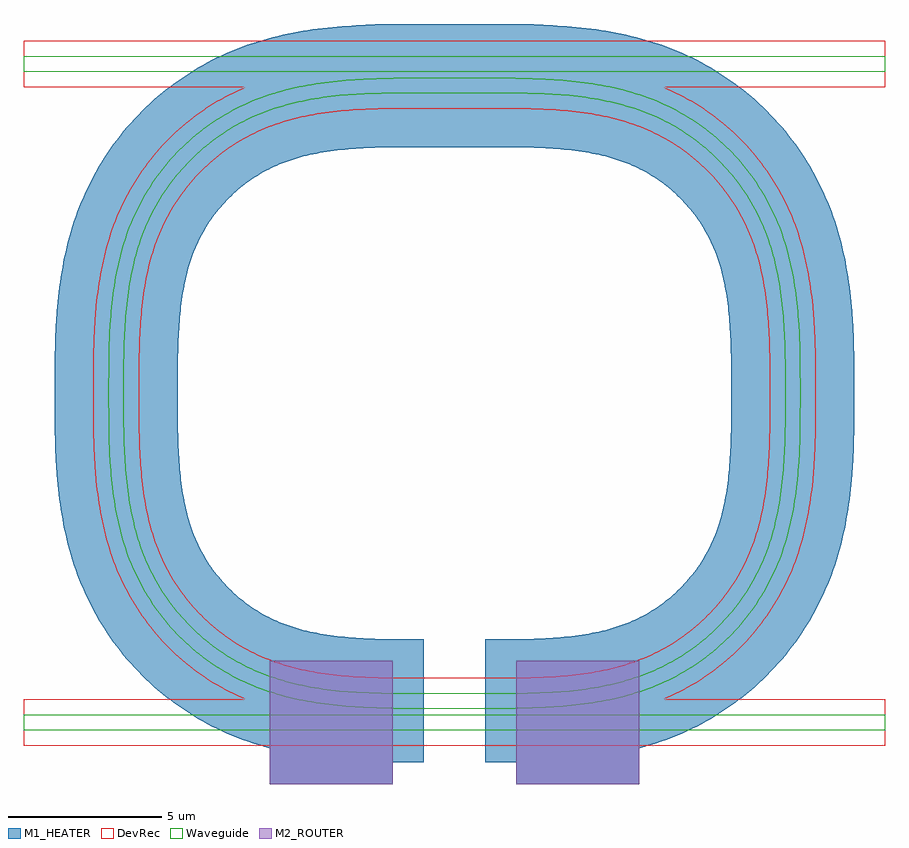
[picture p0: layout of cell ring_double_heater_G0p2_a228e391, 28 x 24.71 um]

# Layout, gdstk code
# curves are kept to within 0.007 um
import gdstk
lib = gdstk.Library(unit=1e-6, precision=1e-09)
def R(c, l, rs):  # rectangles x0, y0, x1, y1
    for r in rs: c.add(gdstk.rectangle(r[:2], r[2:], *l))
def P(c, l, *ps):  # polygons
    for p in ps: c.add(gdstk.Polygon(p, *l))
Waveguide = (1, 0)
M1_HEATER = (11, 0)
M2_ROUTER = (12, 0)
DevRec = (68, 0)

ring_double_heater_g0p2_ = lib.new_cell('ring_double_heater_G0p2_a228e391')
R(ring_double_heater_g0p2_, Waveguide, [(-15,-0.25,13,0.25), (-15,21.16,13,21.66)])
P(ring_double_heater_g0p2_, Waveguide, [(-2.416,0.45),(-3.392,0.461),(-4.233,0.497),(-4.935,0.556),(-5.496,0.63),(-6.055,0.731),(-6.609,0.864),(-7.155,1.034),(-7.688,1.243),(-8.205,1.494),(-8.7,1.784),(-9.171,2.112),(-9.615,2.476),(-10.029,2.874),(-10.41,3.303),(-10.756,3.761),(-11.066,4.245),(-11.337,4.751),(-11.567,5.277),(-11.756,5.817),(-11.907,6.368),(-12.048,7.064),(-12.128,7.625),(-12.194,8.327),(-12.225,8.888),(-12.248,9.866),(-12.248,11.544),(-12.225,12.522),(-12.171,13.364),(-12.128,13.785),(-12.07,14.206),(-11.939,14.904),(-11.756,15.593),(-11.567,16.133),(-11.457,16.398),(-11.273,16.788),(-10.992,17.289),(-10.756,17.649),(-10.588,17.881),(-10.318,18.217),(-10.127,18.431),(-9.826,18.739),(-9.615,18.934),(-9.171,19.298),(-8.939,19.466),(-8.579,19.702),(-8.331,19.847),(-7.949,20.047),(-7.423,20.277),(-6.902,20.46),(-2.415,20.46),(-3.38,20.449),(-4.065,20.422),(-4.746,20.371),(-5.285,20.306),(-5.952,20.19),(-6.477,20.063),(-6.99,19.904),(-7.488,19.709),(-7.969,19.475),(-8.431,19.205),(-8.869,18.899),(-9.283,18.56),(-9.668,18.189),(-10.024,17.789),(-10.346,17.363),(-10.635,16.913),(-10.887,16.441),(-11.051,16.075),(-11.237,15.573),(-11.388,15.056),(-11.506,14.53),(-11.596,13.995),(-11.661,13.456),(-11.719,12.638),(-11.748,11.54),(-11.748,9.87),(-11.731,9.045),(-11.685,8.226),(-11.614,7.549),(-11.506,6.88),(-11.388,6.354),(-11.317,6.094),(-11.194,5.71),(-11.051,5.335),(-10.887,4.969),(-10.635,4.497),(-10.422,4.157),(-10.189,3.831),(-9.938,3.518),(-9.668,3.221),(-9.382,2.94),(-9.079,2.676),(-8.762,2.431),(-8.431,2.205),(-8.087,1.999),(-7.731,1.813),(-7.365,1.649),(-6.99,1.506),(-6.606,1.383),(-6.216,1.28),(-5.82,1.194),(-5.42,1.124),(-4.881,1.053),(-4.474,1.015),(-3.928,0.981),(-2.83,0.952),(0.692,0.951),(1.928,0.981),(2.474,1.015),(3.151,1.086),(3.687,1.169),(4.216,1.28),(4.606,1.383),(5.116,1.551),(5.488,1.701),(5.851,1.873),(6.203,2.065),(6.653,2.354),(7.079,2.676),(7.382,2.94),(7.76,3.318),(8.024,3.621),(8.269,3.938),(8.566,4.383),(8.827,4.849),(8.999,5.212),(9.149,5.584),(9.317,6.094),(9.48,6.748),(9.576,7.28),(9.661,7.954),(9.712,8.635),(9.742,9.457),(9.75,11.125),(9.739,12.09),(9.704,12.912),(9.647,13.591),(9.576,14.13),(9.48,14.662),(9.353,15.187),(9.194,15.7),(9.051,16.075),(8.887,16.441),(8.635,16.913),(8.422,17.253),(8.269,17.472),(8.024,17.789),(7.85,17.993),(7.575,18.285),(7.283,18.56),(7.079,18.734),(6.762,18.979),(6.543,19.132),(6.203,19.345),(5.851,19.537),(5.488,19.709),(5.116,19.859),(4.863,19.947),(4.477,20.063),(4.084,20.161),(3.42,20.286),(2.881,20.357),(2.202,20.414),(1.38,20.449),(0.415,20.46),(-6.902,20.46),(-6.332,20.617),(-5.636,20.758),(-4.935,20.854),(-4.233,20.913),(-3.532,20.945),(-2.695,20.959),(1.253,20.952),(1.953,20.929),(2.514,20.893),(3.075,20.838),(3.636,20.758),(4.194,20.649),(4.609,20.546),(5.019,20.422),(5.423,20.277),(5.819,20.108),(6.205,19.916),(6.579,19.702),(6.939,19.466),(7.285,19.21),(7.615,18.934),(7.928,18.638),(8.224,18.325),(8.5,17.995),(8.756,17.649),(8.992,17.289),(9.206,16.915),(9.398,16.529),(9.567,16.133),(9.712,15.729),(9.836,15.319),(9.939,14.904),(10.048,14.346),(10.128,13.785),(10.194,13.083),(10.235,12.242),(10.248,11.544),(10.249,10.005),(10.239,9.308),(10.219,8.747),(10.183,8.186),(10.128,7.625),(10.048,7.064),(9.939,6.506),(9.836,6.091),(9.712,5.681),(9.567,5.277),(9.457,5.012),(9.273,4.622),(9.066,4.245),(8.916,4),(8.673,3.644),(8.41,3.303),(8.224,3.085),(7.928,2.772),(7.615,2.476),(7.397,2.29),(7.056,2.027),(6.7,1.784),(6.455,1.634),(6.078,1.427),(5.688,1.243),(5.423,1.133),(4.883,0.944),(4.194,0.761),(3.496,0.63),(3.075,0.572),(2.654,0.529),(1.953,0.481),(1.253,0.458)])
P(ring_double_heater_g0p2_, M1_HEATER, [(-7,-2),(-7,-0.842),(-7.401,-0.727),(-7.732,-0.618),(-8.39,-0.36),(-9.03,-0.05),(-9.644,0.31),(-10.085,0.611),(-10.643,1.051),(-11.166,1.534),(-11.649,2.057),(-11.983,2.473),(-12.293,2.907),(-12.576,3.36),(-12.832,3.828),(-13.06,4.31),(-13.259,4.803),(-13.427,5.299),(-13.567,5.794),(-13.715,6.45),(-13.823,7.097),(-13.9,7.734),(-13.967,8.663),(-13.999,9.994),(-13.996,11.705),(-13.967,12.747),(-13.9,13.676),(-13.8,14.474),(-13.682,15.124),(-13.523,15.781),(-13.374,16.276),(-13.13,16.936),(-12.911,17.423),(-12.664,17.896),(-12.39,18.354),(-12.089,18.795),(-11.763,19.217),(-11.532,19.487),(-11.166,19.876),(-10.777,20.242),(-10.368,20.584),(-9.94,20.902),(-9.493,21.194),(-9.03,21.46),(-8.713,21.621),(-8.226,21.84),(-7.732,22.028),(-7.236,22.187),(-6.742,22.318),(-6.25,22.425),(-5.603,22.533),(-4.966,22.61),(-4.343,22.66),(-3.584,22.694),(-2.706,22.709),(1.141,22.704),(2.19,22.669),(3.124,22.593),(3.764,22.51),(4.414,22.392),(5.071,22.233),(5.566,22.084),(6.226,21.84),(6.713,21.621),(7.186,21.374),(7.644,21.1),(8.085,20.799),(8.507,20.473),(8.777,20.242),(9.166,19.876),(9.532,19.487),(9.763,19.217),(10.089,18.795),(10.39,18.354),(10.576,18.05),(10.832,17.582),(11.06,17.1),(11.259,16.607),(11.427,16.111),(11.567,15.616),(11.682,15.124),(11.8,14.474),(11.9,13.676),(11.95,13.053),(11.984,12.294),(11.999,11.416),(11.999,9.994),(11.979,8.966),(11.928,8.047),(11.865,7.417),(11.774,6.775),(11.646,6.123),(11.477,5.464),(11.318,4.968),(11.13,4.474),(10.911,3.987),(10.664,3.514),(10.39,3.056),(10.089,2.615),(9.874,2.332),(9.649,2.057),(9.29,1.661),(9.039,1.41),(8.643,1.051),(8.085,0.611),(7.793,0.407),(7.34,0.124),(7.03,-0.05),(6.552,-0.287),(6.226,-0.43),(5.897,-0.559),(5.401,-0.727),(5,-0.842),(5,-2),(1,-2),(1,-1.296),(0,-1.3),(0,2.7),(0.814,2.702),(1.719,2.723),(2.335,2.76),(2.924,2.821),(3.485,2.911),(3.911,3.007),(4.315,3.125),(4.787,3.305),(5.144,3.478),(5.57,3.733),(5.892,3.967),(6.266,4.293),(6.607,4.655),(6.911,5.048),(7.125,5.382),(7.355,5.823),(7.472,6.097),(7.607,6.484),(7.693,6.789),(7.789,7.215),(7.847,7.548),(7.919,8.126),(7.965,8.732),(7.986,9.235),(7.999,10.019),(7.998,11.524),(7.982,12.303),(7.949,12.924),(7.907,13.402),(7.828,13.974),(7.719,14.516),(7.607,14.926),(7.472,15.313),(7.355,15.587),(7.222,15.854),(7.074,16.113),(6.911,16.362),(6.671,16.679),(6.475,16.904),(6.194,17.185),(5.892,17.443),(5.652,17.621),(5.403,17.784),(5.144,17.932),(4.877,18.065),(4.603,18.182),(4.216,18.317),(3.911,18.403),(3.485,18.499),(2.924,18.589),(2.335,18.65),(1.719,18.687),(0.681,18.709),(-2.681,18.709),(-3.719,18.687),(-4.214,18.659),(-4.692,18.617),(-5.152,18.557),(-5.485,18.499),(-5.806,18.429),(-6.116,18.347),(-6.412,18.252),(-6.787,18.105),(-7.056,17.978),(-7.318,17.835),(-7.57,17.677),(-7.813,17.504),(-8.045,17.317),(-8.266,17.117),(-8.475,16.904),(-8.733,16.602),(-8.911,16.362),(-9.074,16.113),(-9.222,15.854),(-9.355,15.587),(-9.472,15.313),(-9.575,15.025),(-9.719,14.516),(-9.789,14.195),(-9.847,13.862),(-9.907,13.402),(-9.94,13.045),(-9.986,12.175),(-9.999,11.391),(-10,10.289),(-9.977,8.981),(-9.949,8.486),(-9.907,8.008),(-9.847,7.548),(-9.767,7.107),(-9.693,6.789),(-9.607,6.484),(-9.434,6.005),(-9.222,5.556),(-9.074,5.297),(-8.911,5.048),(-8.733,4.808),(-8.542,4.58),(-8.194,4.225),(-7.813,3.906),(-7.57,3.733),(-7.318,3.575),(-6.877,3.345),(-6.603,3.228),(-6.315,3.125),(-5.806,2.981),(-5.485,2.911),(-5.152,2.853),(-4.574,2.781),(-3.968,2.735),(-3.208,2.708),(-2,2.7),(-2,-1.3),(-3,-1.296),(-3,-2)])
R(ring_double_heater_g0p2_, M2_ROUTER, [(-7,-2,-3,2), (1,-2,5,2)])
P(ring_double_heater_g0p2_, DevRec, [(-15,-0.75),(-15,0.75),(-7.807,0.75),(-8.305,0.982),(-8.84,1.281),(-9.225,1.533),(-9.714,1.903),(-10.172,2.311),(-10.597,2.753),(-10.986,3.227),(-11.337,3.73),(-11.574,4.125),(-11.852,4.671),(-12.087,5.237),(-12.277,5.814),(-12.427,6.397),(-12.541,6.981),(-12.641,7.711),(-12.702,8.435),(-12.735,9.153),(-12.75,10.282),(-12.742,11.973),(-12.702,12.975),(-12.641,13.699),(-12.541,14.429),(-12.393,15.159),(-12.233,15.741),(-12.087,16.173),(-11.975,16.458),(-11.718,17.015),(-11.419,17.55),(-11.078,18.06),(-10.797,18.424),(-10.597,18.657),(-10.172,19.099),(-9.714,19.507),(-9.35,19.788),(-9.102,19.96),(-2.414,19.96),(-3.368,19.949),(-4.17,19.915),(-4.957,19.845),(-5.598,19.749),(-6.222,19.614),(-6.825,19.432),(-7.288,19.251),(-7.624,19.092),(-7.842,18.975),(-8.056,18.85),(-8.367,18.646),(-8.666,18.425),(-8.857,18.267),(-9.133,18.018),(-9.308,17.843),(-9.476,17.661),(-9.715,17.376),(-10.074,16.871),(-10.382,16.334),(-10.541,15.998),(-10.635,15.769),(-10.837,15.176),(-10.934,14.809),(-11.016,14.434),(-11.135,13.667),(-11.213,12.748),(-11.248,11.535),(-11.248,9.875),(-11.231,9.063),(-11.205,8.53),(-11.163,8.003),(-11.101,7.485),(-11.016,6.976),(-10.904,6.478),(-10.8,6.113),(-10.68,5.758),(-10.541,5.412),(-10.437,5.187),(-10.14,4.644),(-9.936,4.333),(-9.715,4.034),(-9.476,3.749),(-9.308,3.567),(-9.042,3.307),(-8.762,3.063),(-8.568,2.91),(-8.265,2.694),(-7.95,2.497),(-7.624,2.318),(-7.174,2.111),(-6.706,1.938),(-6.222,1.796),(-5.598,1.661),(-4.957,1.565),(-4.302,1.504),(-3.637,1.469),(-2.825,1.452),(1.233,1.458),(2.038,1.487),(2.697,1.537),(3.471,1.639),(3.85,1.71),(4.222,1.796),(4.825,1.978),(5.174,2.111),(5.401,2.21),(5.842,2.435),(6.265,2.694),(6.666,2.985),(6.951,3.224),(7.133,3.392),(7.476,3.749),(7.715,4.034),(7.864,4.232),(8.14,4.644),(8.437,5.187),(8.541,5.412),(8.68,5.758),(8.837,6.234),(8.963,6.725),(9.082,7.357),(9.163,8.003),(9.213,8.662),(9.239,9.332),(9.25,10.286),(9.248,11.535),(9.231,12.347),(9.196,13.012),(9.135,13.667),(9.016,14.434),(8.904,14.932),(8.722,15.535),(8.541,15.998),(8.382,16.334),(8.265,16.552),(8.006,16.975),(7.715,17.376),(7.476,17.661),(7.308,17.843),(6.951,18.186),(6.666,18.425),(6.468,18.574),(6.056,18.85),(5.513,19.147),(5.174,19.299),(4.825,19.432),(4.466,19.547),(3.975,19.673),(3.471,19.771),(2.957,19.845),(2.038,19.923),(1.368,19.949),(0.414,19.96),(-9.102,19.96),(-8.84,20.129),(-8.441,20.357),(-8.029,20.562),(-7.807,20.66),(-15,20.66),(-15,22.16),(13,22.16),(13,20.66),(5.807,20.66),(6.029,20.562),(6.441,20.357),(6.97,20.047),(7.225,19.877),(7.594,19.603),(8.061,19.204),(8.494,18.771),(8.797,18.424),(8.986,18.183),(9.167,17.935),(9.419,17.55),(9.718,17.015),(9.975,16.458),(10.087,16.173),(10.233,15.741),(10.393,15.159),(10.541,14.429),(10.641,13.699),(10.702,12.975),(10.735,12.257),(10.75,11.128),(10.748,9.861),(10.718,8.723),(10.656,7.856),(10.586,7.274),(10.488,6.689),(10.318,5.959),(10.187,5.525),(10.087,5.237),(9.852,4.671),(9.574,4.125),(9.419,3.86),(9.167,3.475),(8.893,3.106),(8.698,2.869),(8.494,2.639),(8.172,2.311),(7.714,1.903),(7.35,1.622),(7.098,1.447),(6.84,1.281),(6.441,1.053),(6.029,0.848),(5.807,0.75),(13,0.75),(13,-0.75)])

lib.write_gds('ring_double_heater_G0p2_a228e391.gds')
